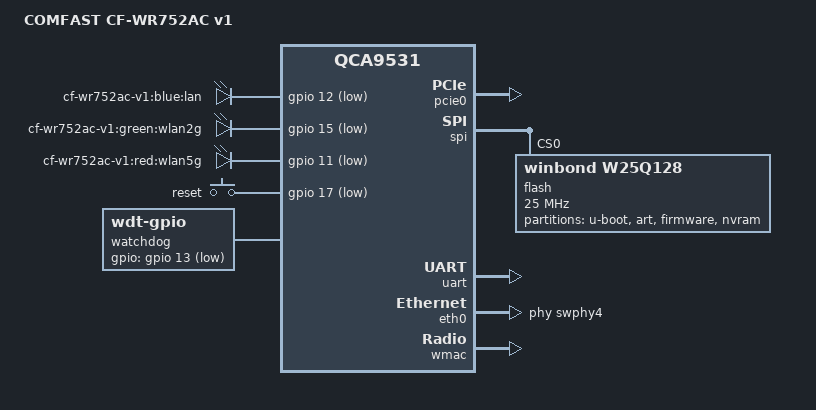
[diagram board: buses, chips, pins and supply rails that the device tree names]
// SPDX-License-Identifier: GPL-2.0-or-later OR MIT
/dts-v1/;

#include <dt-bindings/gpio/gpio.h>
#include <dt-bindings/input/input.h>

#include "qca953x.dtsi"

/ {
	compatible = "comfast,cf-wr752ac-v1", "qca,qca9531";
	model = "COMFAST CF-WR752AC v1";

	aliases {
		serial0 = &uart;
		led-boot = &led_lan;
		led-failsafe = &led_lan;
		led-upgrade = &led_lan;
	};

	leds {
		compatible = "gpio-leds";

		pinctrl-names = "default";
		pinctrl-0 = <&jtag_disable_pins &led_wlan2g_pin &led_wlan5g_pin>;

		led_lan: lan {
			label = "cf-wr752ac-v1:blue:lan";
			gpios = <&gpio 12 GPIO_ACTIVE_LOW>;
			linux,default-trigger = "netdev";
		};

		wlan2g {
			label = "cf-wr752ac-v1:green:wlan2g";
			gpios = <&gpio 15 GPIO_ACTIVE_LOW>;
			linux,default-trigger = "phy1tpt";
		};

		wlan5g {
			label = "cf-wr752ac-v1:red:wlan5g";
			gpios = <&gpio 11 GPIO_ACTIVE_LOW>;
			linux,default-trigger = "phy0tpt";
		};
	};

	keys {
		compatible = "gpio-keys";

		button {
			label = "reset";
			linux,code = <KEY_RESTART>;
			gpios = <&gpio 17 GPIO_ACTIVE_LOW>;
			debounce-interval = <60>;
		};
	};

	watchdog {
		compatible = "linux,wdt-gpio";

		gpios = <&gpio 13 GPIO_ACTIVE_LOW>;
		hw_algo = "toggle";
		hw_margin_ms = <1200>;
		always-running;
	};
};

&pinmux {
	led_wlan2g_pin: pinmux_lan {
		pinctrl-single,bits = <0x0c 0x0 0xff000000>;
	};

	led_wlan5g_pin: pinmux_wlan2g {
		pinctrl-single,bits = <0x08 0x0 0xff000000>;
	};
};

&pcie0 {
	status = "okay";
};

&spi {
	status = "okay";
	
	num-cs = <1>;

	flash@0 {
		compatible = "winbond,w25q128", "jedec,spi-nor";
		reg = <0>;
		spi-max-frequency = <25000000>;

		partitions {
			compatible = "fixed-partitions";
			#address-cells = <1>;
			#size-cells = <1>;

			partition@0 {
				label = "u-boot";
				reg = <0x000000 0x010000>;
				read-only;
			};

			art: partition@10000 {
				label = "art";
				reg = <0x010000 0x010000>;
				read-only;
			};

			partition@20000 {
				compatible = "denx,uimage";
				label = "firmware";
				reg = <0x020000 0xfd0000>;
			};

			partition@ff0000 {
				label = "nvram";
				reg = <0xff0000 0x010000>;
				read-only;
			};
		};
	};
};

&uart {
	status = "okay";
};

&eth0 {
	status = "okay";

	phy-handle = <&swphy4>;
	mtd-mac-address = <&art 0x0>;
};

&eth1 {
	// "Disable" unpopulated GMAC1
	compatible = "syscon", "simple-mfd";
};

&wmac {
	status = "okay";
	
	mtd-cal-data = <&art 0x1000>;
	mtd-mac-address = <&art 0x0>;
	mtd-mac-address-increment = <10>;
};
